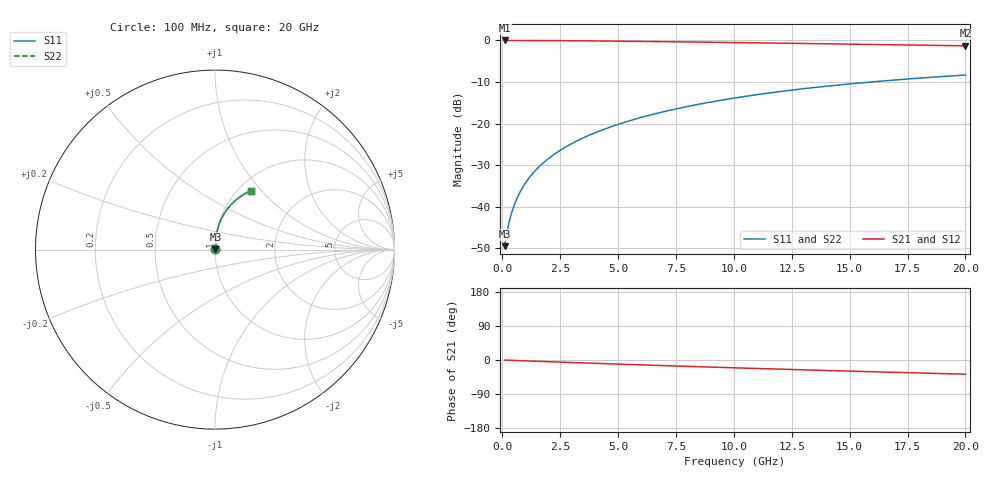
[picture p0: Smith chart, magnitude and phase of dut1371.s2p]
! Touchstone file exported from HFSS 2024.1.0
!  File:  C:/UserFiles/LocalFiles/RDL_TSV_Batchsim/temp_RDL_top_1371_1780367011.aedt
!  Generated:  10:25:47 AM Jun  2, 2026
!  Design:  RDL_top
!  Project:  temp_RDL_top_1371_1780367011
!  Setup:  Setup1
!  Solution:  Sweep
! Variables:
!  dtsv = 10.80580581um
!  hbump = 3um
!  htsv = 65.86um
!  ldown = 100um
!  lrdl = 480.15um
!  p = 40
!  p1 = 58.6um
!  rhole = 1um
!  t = 450um
!  tdown = 3.915915916um
!  trdl = 3.17um
!  wdown = 15.38538539um
!  wrdl = 21.93um
# GHz S MA R 50.000000
! Terminal data exported
! Port[1] = Box2_T1
! Port[2] = Box2_T2
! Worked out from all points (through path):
!   200 points, 100 MHz to 20 GHz, reference 50 ohm
!   highest |S21| = -0.02 dB at 100 MHz (marker M1); lowest = -1.3 dB at 20 GHz (marker M2)
!   group delay of S21, straight-line fit = 5.16 ps
!   lowest |S11| = -49.5 dB at 100 MHz (marker M3), VSWR 1.01, Z = 50.3 + j0.204 ohm
!   |S11| at or under -10 dB: start of sweep to 15.94 GHz
!   |S22| runs from -49.5 to -8.3 dB; largest |S21 - S12| = 2.5e-15
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0.1  0.00335 37.3  0.9973 -0.2  0.9973 -0.2  0.00335 37.3
! Gamma 0 0 0 0
! Port Impedance 50 0 50 0
0.2  0.004875 55.4  0.9972 -0.5  0.9972 -0.5  0.004875 55.4
0.3  0.006605 64.1  0.997 -0.7  0.997 -0.7  0.006605 64.1
0.4  0.008381 69.0  0.9969 -0.9  0.9969 -0.9  0.008381 69.0
0.5  0.01017 72.3  0.9967 -1.1  0.9967 -1.1  0.01017 72.3
0.6  0.01197 74.6  0.9966 -1.4  0.9966 -1.4  0.01197 74.6
0.8  0.01559 77.8  0.9962 -1.8  0.9962 -1.8  0.01559 77.8
1.1  0.0211 80.5  0.9957 -2.5  0.9957 -2.5  0.0211 80.5
1.5  0.02855 82.5  0.9948 -3.4  0.9948 -3.4  0.02855 82.5
1.8  0.03421 83.4  0.9939 -4.0  0.9939 -4.0  0.03421 83.4
2.1  0.03992 84.0  0.993 -4.7  0.993 -4.7  0.03992 84.0
2.7  0.05149 84.5  0.9907 -6.0  0.9907 -6.0  0.05149 84.5
3.5  0.06725 84.6  0.987 -7.7  0.987 -7.7  0.06725 84.6
4.2  0.08132 84.3  0.9832 -9.2  0.9832 -9.2  0.08133 84.3
5  0.09768 83.6  0.9784 -10.9  0.9784 -10.9  0.09769 83.6
5.9  0.1164 82.6  0.9724 -12.7  0.9724 -12.7  0.1164 82.6
6.8  0.1352 81.4  0.9661 -14.5  0.9661 -14.5  0.1352 81.4
8.4  0.1688 78.8  0.9542 -17.6  0.9542 -17.6  0.1689 78.9
10.1  0.2041 75.9  0.9411 -20.8  0.9411 -20.8  0.2041 75.9
13.4  0.2695 70.0  0.9145 -26.6  0.9145 -26.6  0.2696 70.0
16.7  0.3294 64.2  0.8871 -32.2  0.8871 -32.2  0.3295 64.2
20  0.383 58.7  0.8594 -37.4  0.8594 -37.4  0.3831 58.7
